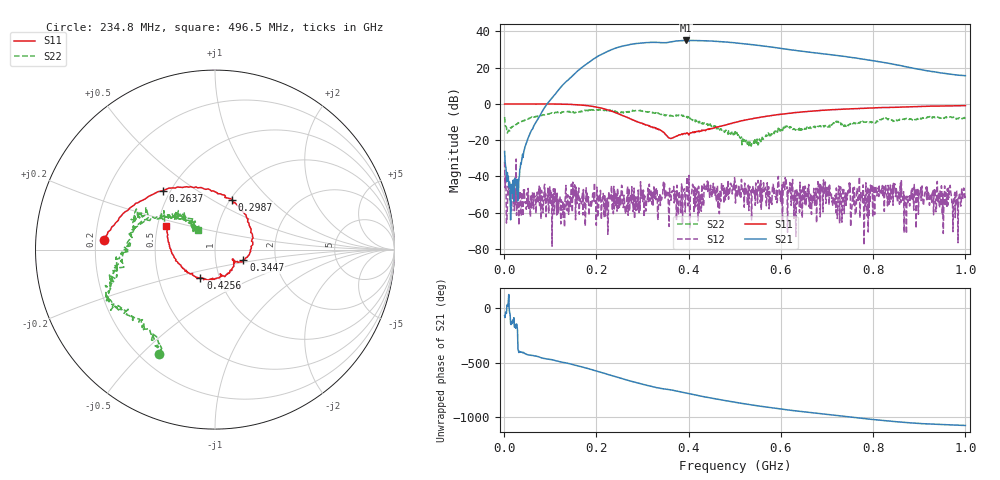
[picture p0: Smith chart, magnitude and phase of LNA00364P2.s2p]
! Created with skrf 1.9.0 (http://scikit-rf.org).
# Hz S RI R 50.0
!freq ReS11 ImS11 ReS21 ImS21 ReS12 ImS12 ReS22 ImS22
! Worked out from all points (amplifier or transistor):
!   1001 points, 1 MHz to 1 GHz, reference 50 ohm
!   highest |S21| = 35.0 dB at 394.6 MHz (marker M1)
!   |S21| within 3 dB of that: 259.1 MHz to 560 MHz (300.9 MHz wide, 73.5 % of centre)
!   unconditionally stable (mu >= 1): 208.9 MHz to 295.5 MHz; 295.9 MHz to 396.4 MHz; 400.6 MHz to end of sweep (the widest 3 of 31)
!   at 166.8 MHz: K = 2.16, MAG = 30.5 dB, |S12| = -53.5 dB
!   at 500.5 MHz: K = 1.42, MAG = 34.6 dB, |S12| = -43.1 dB
!   at 1 GHz: K = 3.94, MAG = 24.0 dB, |S12| = -50.2 dB
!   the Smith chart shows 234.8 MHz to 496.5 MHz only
!   S11 on the Smith chart (normalised r, x): 234.8 MHz: 0.24, +0.04; 263.7 MHz: 0.46, +0.37; 298.7 MHz: 1.02, +0.62; 344.7 MHz: 1.36, -0.16; 425.6 MHz: 0.81, -0.26; 496.5 MHz: 0.56, +0.16
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1000000  0.9951 0.0131  0.0178 -0.0453  -0.0173 0.0185  0.3065 0.31
1.08892e8  0.5037 -0.8582  -0.8326 -1.545  0.000989 -1.84e-05  0.4122 -0.3709
1.67833e8  -0.2617 -0.8901  -10.01 -0.4118  -0.00156 0.000801  0.0353 -0.6342
2.06794e8  -0.6712 -0.4129  -15.7 15.34  -0.00232 0.00086  -0.173 -0.6616
2.34766e8  -0.6168 0.055  -5.279 31.87  -0.000926 -0.000649  -0.3106 -0.5832
2.63737e8  -0.2902 0.3286  18.49 36.75  0.000486 -0.00107  -0.4669 -0.3732
2.98702e8  0.096 0.2789  44 19.34  -0.000481 0.00405  -0.5972 -0.2423
3.17683e8  0.191 0.1341  49.61 3.225  0.00244 -0.000122  -0.5498 -0.1651
3.34666e8  0.1959 -0.00364  48.52 -10.52  0.00167 -0.000983  -0.5521 -0.0544
3.44656e8  0.1579 -0.0565  45.56 -16.78  -0.00537 0.00258  -0.4911 -0.00235
3.7063e8  0.1052 -0.0654  42.81 -33.08  -0.000828 0.00383  -0.4583 0.1531
3.94606e8  0.0636 -0.1393  28.22 -48.87  -0.00179 0.00263  -0.4054 0.182
4.25575e8  -0.0815 -0.1571  3.44 -55.48  0.00306 0.000288  -0.2508 0.1708
4.55545e8  -0.2061 -0.0749  -18.71 -50.23  0.0045 0.00295  -0.1736 0.1804
4.96504e8  -0.2708 0.1327  -37.72 -31.17  0.00446 0.00291  -0.0944 0.1066
5.005e8  -0.2705 0.1492  -39.29 -28.96  -0.00304 0.0063  -0.1069 0.1347
5.39461e8  -0.1811 0.3489  -42.21 -7.64  0.00493 -0.00255  -0.0847 0.00307
5.83417e8  0.0101 0.4878  -34.84 10.65  0.00338 -0.00492  -0.1564 -0.0663
6.67333e8  0.4018 0.4895  -13.15 22.59  0.00112 -0.00275  -0.2287 -0.00536
7.55245e8  0.6837 0.2725  3.718 18.58  -0.00278 -0.0011  -0.2769 0.0464
8.34166e8  0.799 0.0193  9.454 9.209  -0.00161 -0.000499  -0.3839 0.0579
1e9  0.7316 -0.5233  6.018 0.3869  0.000734 0.003  -0.2066 0.346
